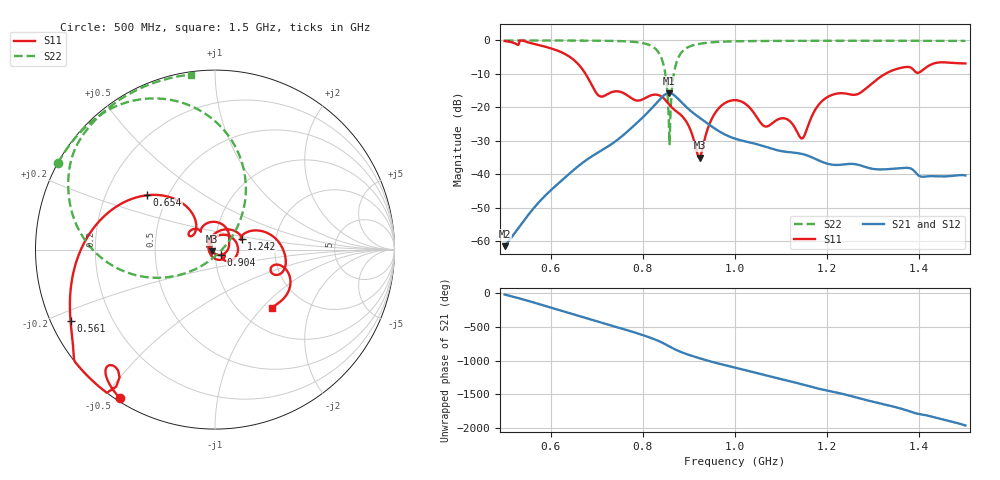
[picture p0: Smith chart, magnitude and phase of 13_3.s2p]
! TOUCHSTONE file generated by CST MICROWAVE STUDIO
! Date and time: Fri Oct  2 16:39:14 2020
! Project name: Scenario_1_Free_Space_out_of_line.cst
! Parameters = {Lambda=346.42; Step_1=17.321; dy1=139.548; dx1=520; L_HA=400; MT=2.54; Rad_Dielectric=30; Rad_Lower=7.3; Rad_Upper=30; a_HA=580; a_WG=246; b_HA=500; b_WG=121; c_HA=0; c_WG=187; d_feed=85; h_feed=15; h_lower=18; h_upper=40}
! Header version: 2018
! Port assignment regex: !\s*Touchstone port\s*([0-9]+)\s*=\s*(CST MWS port|CST DS port)\s*([0-9]+|Zmin|Zmax)\s*\(\"(.*)\"\)(\s*mode\s*([0-9]+))?.*
! Touchstone port assignment:
! Touchstone port 1 = CST MWS port 1 ("")
! Touchstone port 2 = CST MWS port 2 ("")
# GHz S DB R 50
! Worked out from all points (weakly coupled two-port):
!   1003 points, 500 MHz to 1.5 GHz, reference 50 ohm
!   highest |S21| = -15.74 dB at 857 MHz (marker M1); lowest = -61.5 dB at 500 MHz (marker M2)
!   lowest |S11| = -35.1 dB at 923 MHz (marker M3), VSWR 1.04, Z = 48.5 - j0.891 ohm
!   |S11| at or under -10 dB: 675.7 MHz to 1.326 GHz (650.3 MHz wide, 65 % of centre)
!   |S22| runs from -31.0 to 0.0 dB; largest |S21 - S12| = 4.3e-05
!   S11 on the Smith chart (normalised r, x): 500 MHz: 0.01, -0.55; 561 MHz: 0.06, -0.23; 654 MHz: 0.38, +0.30; 904 MHz: 1.07, -0.06; 1.242 GHz: 1.34, +0.16; 1.5 GHz: 1.39, -1.13
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0.5  -0.15 -122.7  -61.47 -24.4  -61.47 -24.4  -0.01 151.1
0.561  -0.94 -153.8  -50.47 -137.3  -50.47 -137.3  -0.01 147.0
0.609  -2.75 176.9  -43.66 125.5  -43.66 125.4  -0.02 143.4
0.654  -6.28 141.4  -38.22 34.7  -38.22 34.7  -0.04 139.5
0.667  -8.26 130.8  -36.78 7.5  -36.78 7.5  -0.04 138.3
0.707  -16.69 139.4  -33.13 -75.4  -33.13 -75.4  -0.08 133.9
0.787  -17.95 128.2  -24.66 125.2  -24.66 125.2  -0.52 117.8
0.834  -16.32 84.8  -18.00 10.3  -18.00 10.3  -3.56 85.4
0.847  -17.51 60.7  -16.27 -31.8  -16.27 -31.8  -8.59 62.5
0.857  -19.12 44.9  -15.74 -68.5  -15.74 -68.5  -27.35 5.2
0.874  -21.31 22.9  -17.10 -127.8  -17.10 -127.8  -6.18 -164.2
0.904  -26.97 -40.8  -21.07 155.6  -21.07 155.6  -1.66 165.2
0.923  -35.08 -148.6  -23.08 114.7  -23.08 114.7  -1.01 156.7
0.956  -21.85 75.8  -26.31 50.5  -26.31 50.5  -0.49 147.8
1  -17.84 0.2  -29.34 -23.3  -29.34 -23.3  -0.25 140.2
1.064  -25.64 -40.3  -31.69 -133.1  -31.69 -133.1  -0.15 133.0
1.114  -23.62 -58.2  -33.33 144.5  -33.33 144.5  -0.11 128.5
1.144  -29.25 -155.0  -33.86 91.3  -33.86 91.3  -0.11 126.0
1.167  -22.58 103.5  -34.93 49.2  -34.93 49.2  -0.10 124.2
1.242  -15.90 21.5  -36.95 -66.1  -36.95 -66.1  -0.09 118.4
1.334  -9.42 11.4  -38.44 137.9  -38.44 137.9  -0.09 111.4
1.5  -6.87 -45.5  -40.33 -158.1  -40.33 -158.3  -0.14 97.8
